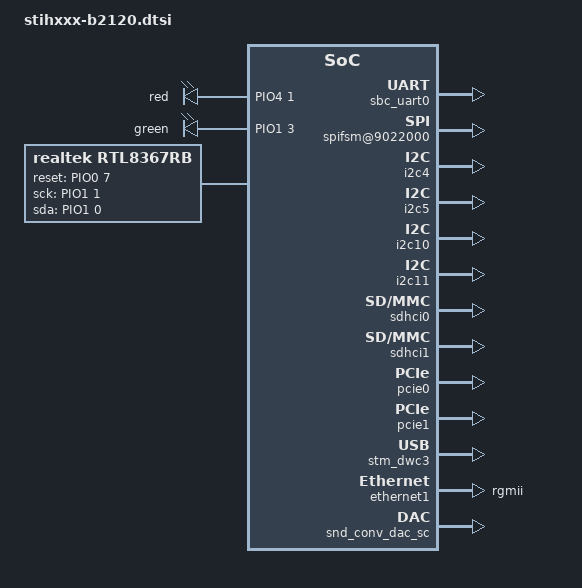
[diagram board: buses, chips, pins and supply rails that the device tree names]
/*
 * Copyright (C) 2014 STMicroelectronics Limited.
 * Author: Giuseppe Condorelli <giuseppe.condorelli@st.com>
 *
 * This program is free software; you can redistribute it and/or modify
 * it under the terms of the GNU General Public License version 2 as
 * publishhed by the Free Software Foundation.
 */

/ {
	chosen {
		bootargs = "";
		linux,stdout-path = &sbc_uart0;
	};

	aliases {

		ttyAS0 = &sbc_uart0;
		i2c0 = &i2c11;	/* HDMI */
		i2c1 = &i2c3;	/* NIM-B */
		i2c2 = &i2c4;	/* miniPCIe */
		i2c3 = &i2c5;	/* stv6440 / M24256-B eeprom  */
		i2c4 = &i2c10;	/* stv0368 */
		i2c5 = &i2c2;	/* NIM-A */
		mmc0 = &sdhci0;
		mmc1 = &sdhci1;
		sata0 = &stm_ahci0;
		sata1 = &stm_ahci1;
	};

	soc {
		lmi-retention-gpio   = <&PIO5 2 0>;

		/* UART10 (aka SBC_UART_0) */
		sbc_uart0: uart@9530000 {
			status = "okay";
		};

		spifsm@9022000 {
			status          = "okay";
			flash-name      = "n25q256";
			partitions      = <&b2120_fsm_partitions>;
			b2120_fsm_partitions: partitions-b2120 {
				#address-cells = <1>;
				#size-cells = <1>;
				partition@0 {
					label = "Serial Flash 1";
					/* 5M */
					reg = <0x00000000 0x00500000>;
				};
				partition@500000 {
					label = "Serial Flash 2";
					/* 27M */
					reg = <0x00500000 0x1B00000>;
				};
			};
		};

		leds {
			compatible	= "gpio-leds";
			red {
				gpios	= <&PIO4 1 0>;
				linux,default-trigger	= "heartbeat";
			};
			green {
				gpios	= <&PIO1 3 0>;
				default-state = "off";
			};
		};

		lirc@09518000 {
			status = "okay";
		};

		/* SSC4 to PCIe connector */
		i2c4: i2c@9844000{
			status = "okay";
		};

		/* SSC5 to STV6440,  PCIe connector, I2C Eeprom */
		i2c5: i2c@9845000{
			status = "okay";
		};

		/* SSC10 to STV0368 */
		i2c10: i2c@9540000{
			status = "okay";
		};

		/* SSC11 to HDMI */
		i2c11: i2c@9541000{
			status = "okay";
		};

		sdhci0:sdhci@09060000 {
			status = "okay";
			device-config = <&sdhci0_emmc_dev_config>; // eMMC pad
			st,mmc-non-removable;
		};

		/* MMC1 is MMC4.3 / SD2.0 HC */
		sdhci1:sdhci@09080000 {
			status = "okay";
			device-config = <&sdhci1_sd_dev_config>; // SD pad
			st,mmc-core-init = <3>; // ARASAN_SD2 core config
		};

		/*
		 * The Mini PCIE connectors can also be used as SATA ports
		 * with the B2136 adaptor board. By default the board is
		 * configured as PCIe. To change it to SATA, change the
		 * miphy mode to "sata" instead of "pcie" and change the
		 * device-seq to the SATA sequence instead of the pcie
		 * sequence. Enable the AHCI SATA contoller, and disable the
		 * PCIe controller as well. By default the board is set up
		 * to be PCI express.
		 *
		 * PCIe can support either an internal clock generated by
		 * the clock slice, or an external clock generated by a clock
		 * chip.
		 * Only the internal clock is currently supported by the software.
		 * RevA boards are by default set up for external
		 * clocks, to change to the internal clock the procedure is
		 * 	Remove R261,R259
		 *	Fit zero ohm to R260,R262
		 *	Replace R60,R61 with 50 Ohm (or 47)
		 *
		 * RevB boards use the internal clock by default and require no
		 * modifcations.
		 */
		miphy0: miphy@9b22000 {
			status = "okay";
			miphy-modes = "pcie";
			/* miphy-modes = "sata"; */
			miphy0-dev-config {
				/* Use this sequence for PCIe using the internal clock slice */
				device-seqs = <&miphy0_pcie_internal_clock_seq>;
				/* device-seqs = <&miphy0_sata_seq>; */
			};
		};

		/* PCI express controller, mini PCIe connector J4 */
		pcie0: pcie@9b00000{
			status = "okay";
		};

		/* SATA AHCI controller using B2136 adaptor board */
		stm_ahci0: ahci@9b20000 {
			status = "disabled";
		};

		/* See comment for miphy0 above for how to enable this
		 * connector for SATA
		 *
		 * For RevA internal clock modifications:
		 * 	Remove R248, R250
		 *	Fit zero ohm to R249,R250
		 *	Replace R252,R253 with 50 Ohm (or 47)
		 */
		miphy1: miphy@9b2a000 {
			status = "okay";
			miphy-modes     = "pcie";
			/* miphy-modes = "sata"; */
			miphy1-dev-config {
				device-seqs = <&miphy1_pcie_internal_clock_seq>;
				/* device-seqs = <&miphy1_sata_seq>; */
			};
		};

		/* PCI express controller, mini PCIe connector J15 */
		pcie1: pcie@9b10000{
			status = "okay";
		};

		/* SATA AHCI controller using B2136 adaptor board */
		stm_ahci1: ahci@9b28000 {
			status = "disabled";
		};

		/* Miphy has to be probed before USB3 controller */
		miphy2: miphy@08f90000 {
			status = "okay";
			miphy-modes     = "usb3";
		};

		/*
		   DRD USB3 controller static configuration (mode pin 11)
			o Host - sw3 off (to GND)
			o Device - sw3 on (to 3V3)
		 */
		stm_dwc3: dwc3@8f94000 {
			status = "okay";
			usb3-dev-config {
				/* DRD USB3 as host (default) */
				device-seqs = <&usb3_host_dev_seqs>;
				/* DRD USB3 as device */
				/* device-seqs = <&usb3_device_dev_seqs>; */
			};
		};

		/* SYNP GMAC is configure to be attached to the RTL on board
		   switch; so fixed_phy support is used for communicating
		   with it.
		 */
		ethernet1:ethernet@9630000 {
			status = "okay";
			phy-mode	= "rgmii";
			snps,phy-bus-name = "fixed";
			snps,phy-bus-id = <0>;
			device-config = <&rgmii1_dev_config>;
			snps,phy-addr = <0x1>;
			snps,reset-delays-us = <0 10000 10000>;
		};

		realtek: rtl8367rb {
			compatible	= "realtek,rtl8367rb";
			status		= "okay";

			gpio-reset	= <&PIO0 7 0>;
			gpio-sck	= <&PIO1 1 0>;
			gpio-sda	= <&PIO1 0 0>;

			rtl8367rb,extif1;
			rtl8367rb,extif1-mode = <1>;	// RGMII
			rtl8367rb,extif1-txdelay = <0>;
			rtl8367rb,extif1-rxdelay = <1>;
			rtl8367rb,extif1-force_mode = <1>;
			rtl8367rb,extif1-txpause = <2>;
			rtl8367rb,extif1-rxpause = <2>;
			rtl8367rb,extif1-link = <1>;
			rtl8367rb,extif1-duplex = <1>;
			rtl8367rb,extif1-speed = <1>; // 2 for Giga speed

			rtl8367rb,extif2;
			rtl8367rb,extif2-mode = <1>;	// RGMII
			rtl8367rb,extif2-txdelay = <1>;
			rtl8367rb,extif2-rxdelay = <1>;
			rtl8367rb,extif2-force_mode = <1>;
			rtl8367rb,extif2-txpause = <1>;
			rtl8367rb,extif2-rxpause = <1>;
			rtl8367rb,extif2-link = <1>;
			rtl8367rb,extif2-duplex = <1>;
			rtl8367rb,extif2-speed = <1>; // 2 for Giga speed
		};

		snd_uni_player0: snd-uni-player@0x08d80000 {
			compatible	= "st,snd_uni_player";
			status		= "okay";
		};

		snd_uni_player1: snd-uni-player@0x08d81000 {
			compatible	= "st,snd_uni_player";
			status		= "disabled";
			padcfg-names	= "default";
			padcfg-0	= <&padcfg_i2s_8ch_out>;
		};

		snd_uni_player2: snd-uni-player@0x08d82000 {
			compatible	= "st,snd_uni_player";
			status		= "okay";
		};

		snd_uni_player3: snd-uni-player@0x08d85000 {
			compatible	= "st,snd_uni_player";
			status		= "okay";
			padcfg-names	= "default";
			padcfg-0	= <&padcfg_spdif_out>;
		};

		snd_uni_reader0: snd-uni-reader@0x08d83000 {
			compatible	= "st,snd_uni_reader";
			status		= "disabled";
			padcfg-names	= "default";
			padcfg-0	= <&padcfg_i2s_8ch_in>;
		};

		snd_uni_reader1: snd-uni-reader@0x08d84000 {
			compatible	= "st,snd_uni_reader";
			status		= "okay";
		};

		snd_conv_dac_sc: snd-conv-dac-sc {
			compatible	= "st,snd_conv_dac_sc";
			status		= "okay";
		};

		snd_conv_biphase: snd-conv-biphase {
			compatible	= "st,snd_conv_biphase";
			status		= "okay";
		};

		snd_audio_glue: snd-audio-glue {
			compatible	= "st,snd_audio_glue";
			status		= "okay";
		};
	};
};
